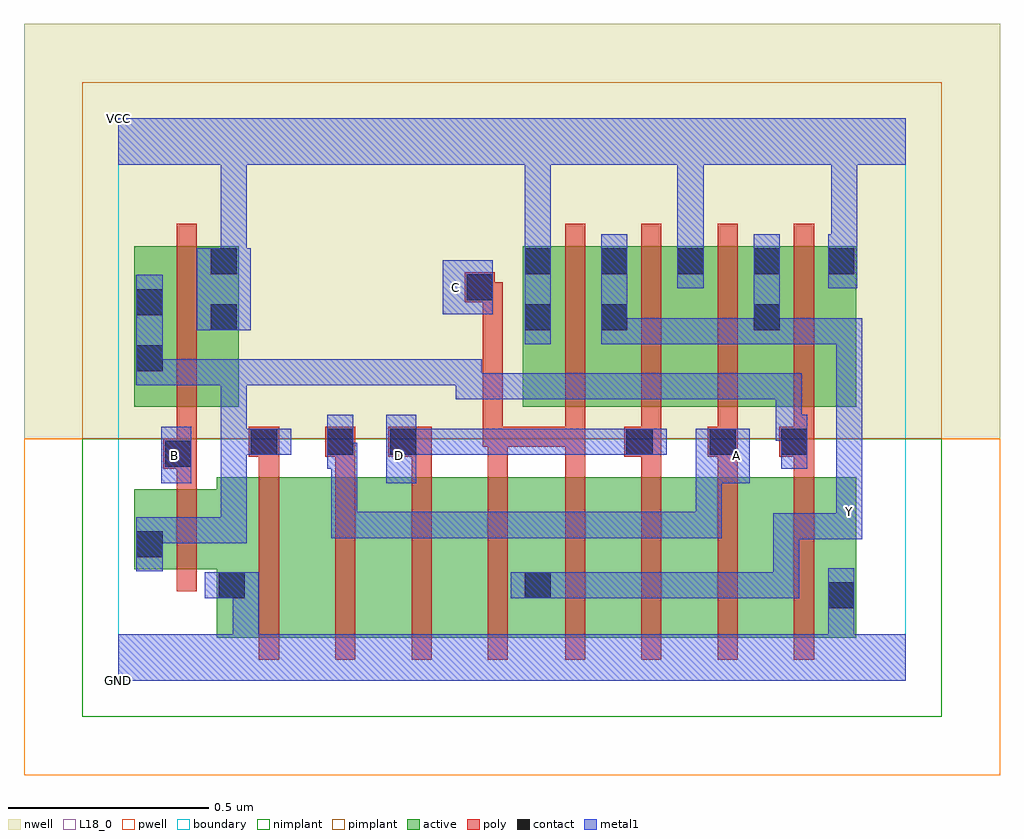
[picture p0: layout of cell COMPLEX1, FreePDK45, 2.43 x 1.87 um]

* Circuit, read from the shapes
.subckt COMPLEX1 A B C D GND VCC Y
M1 GND B n1 VSUBS nfet w=0.2u l=0.05u
M2 n2 n1 GND VSUBS nfet w=0.4u l=0.05u
M3 n3 A n2 VSUBS nfet w=0.4u l=0.05u
M4 n4 D n3 VSUBS nfet w=0.4u l=0.05u
M5 Y C n4 VSUBS nfet w=0.4u l=0.05u
M6 n5 C Y VSUBS nfet w=0.4u l=0.05u
M7 n6 D n5 VSUBS nfet w=0.4u l=0.05u
M8 n7 A n6 VSUBS nfet w=0.4u l=0.05u
M9 GND n1 n7 VSUBS nfet w=0.4u l=0.05u
M10 VCC B n1 n8 pfet w=0.4u l=0.05u
M11 Y C VCC n8 pfet w=0.4u l=0.05u
M12 VCC D Y n8 pfet w=0.4u l=0.05u
M13 Y A VCC n8 pfet w=0.4u l=0.05u
M14 VCC n1 Y n8 pfet w=0.4u l=0.05u
.ends

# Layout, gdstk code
import gdstk
lib = gdstk.Library(unit=1e-6, precision=1e-09)
def R(c, l, rs):  # rectangles x0, y0, x1, y1
    for r in rs: c.add(gdstk.rectangle(r[:2], r[2:], *l))
def A(c, l, x, y, w, h, nx, ny, dx, dy):  # array of equal rectangles
    R(c, l, [(x+i*dx, y+j*dy, x+i*dx+w, y+j*dy+h) for i in range(nx) for j in range(ny)])
active = (1, 0)
pwell = (2, 0)
nwell = (3, 0)
nimplant = (4, 0)
pimplant = (5, 0)
poly = (9, 0)
contact = (10, 0)
metal1 = (11, 0)
L18_0 = (18, 0)
boundary = (235, 0)

complex1 = lib.new_cell('COMPLEX1')
A(complex1, active, 1.007, 0.682, 0.265, 0.4, 3, 1, 0.19, 0)
R(complex1, active, [(0.245,0.107,0.47,0.507), (0.245,0.107,0.32,0.292), (0.47,0.107,0.66,0.507), (0.66,0.107,0.85,0.507), (0.85,0.107,1.082,0.507), (1.007,0.107,1.232,0.507), (1.232,0.107,1.422,0.507), (1.422,0.107,1.612,0.507), (1.612,0.107,1.837,0.507), (1.762,0.107,1.837,0.507), (1.007,0.147,1.082,0.492), (0.04,0.277,0.32,0.477), (0.04,0.302,0.115,0.477), (0.04,0.682,0.3,1.082), (0.04,0.682,0.115,1.057), (0.225,0.682,0.3,1.082), (1.577,0.682,1.837,1.082), (1.762,0.682,1.837,1.082), (1.007,0.72,1.082,1.082), (1.197,0.802,1.272,1.082), (1.577,0.802,1.652,1.082), (1.387,0.907,1.462,1.082)])
R(complex1, pwell, [(-0.235,-0.235,2.195,0.602)])
R(complex1, nwell, [(-0.235,0.602,2.195,1.635)])
R(complex1, nimplant, [(-0.09,-0.09,2.05,0.602)])
R(complex1, pimplant, [(-0.09,0.602,2.05,1.49)])
A(complex1, poly, 0.35, 0.052, 0.05, 0.51, 4, 1, 0.19, 0)
A(complex1, poly, 1.112, 0.052, 0.05, 0.51, 4, 2, 0.19, 0.575)
A(complex1, poly, 0.35, 0.512, 0.05, 0.095, 3, 1, 0.19, 0)
A(complex1, poly, 1.302, 0.512, 0.05, 0.095, 3, 1, 0.19, 0)
A(complex1, poly, 1.112, 0.582, 0.05, 0.095, 4, 1, 0.19, 0)
R(complex1, poly, [(0.145,0.222,0.195,0.532), (0.145,0.482,0.195,0.577), (0.92,0.512,0.97,0.632), (1.112,0.512,1.162,0.632), (0.112,0.527,0.195,0.602), (0.145,0.552,0.195,0.677), (0.325,0.557,0.4,0.632), (0.515,0.557,0.59,0.632), (0.672,0.557,0.78,0.632), (1.26,0.557,1.352,0.632), (1.467,0.557,1.542,0.632), (1.645,0.557,1.732,0.632), (0.907,0.582,0.957,0.992), (0.907,0.582,0.97,0.632), (0.92,0.582,1.162,0.632), (0.92,0.582,0.97,0.632), (0.92,0.582,0.97,0.632), (1.112,0.582,1.162,0.632), (0.145,0.627,0.195,1.137), (0.862,0.942,0.937,1.017), (0.887,0.942,0.937,0.992), (0.887,0.942,0.957,0.992)])
A(complex1, contact, 1.012, 1.012, 0.065, 0.065, 4, 1, 0.19, 0)
R(complex1, contact, [(1.767,0.18,1.832,0.245), (0.25,0.205,0.315,0.27), (1.012,0.205,1.077,0.27), (0.045,0.307,0.11,0.372), (0.117,0.532,0.182,0.597), (0.33,0.562,0.395,0.627), (0.52,0.562,0.585,0.627), (0.677,0.562,0.742,0.627), (1.265,0.562,1.33,0.627), (1.472,0.562,1.537,0.627), (1.65,0.562,1.715,0.627), (0.045,0.77,0.11,0.835), (0.23,0.872,0.295,0.937), (1.012,0.872,1.077,0.937), (1.202,0.872,1.267,0.937), (1.582,0.872,1.647,0.937), (0.045,0.91,0.11,0.975), (0.867,0.947,0.932,1.012), (0.23,1.012,0.295,1.077), (1.767,1.012,1.832,1.077)])
R(complex1, metal1, [(0,0,1.96,0.115), (0.285,0.05,0.35,0.27), (1.767,0.05,1.832,0.21), (1.767,0.145,1.832,0.28), (0.215,0.205,0.35,0.27), (0.977,0.205,1.112,0.27), (1.047,0.205,1.112,0.27), (1.047,0.205,1.112,0.27), (1.047,0.205,1.32,0.27), (1.255,0.205,1.32,0.27), (1.255,0.205,1.32,0.27), (1.255,0.205,1.32,0.27), (1.255,0.205,1.502,0.27), (1.437,0.205,1.502,0.27), (1.437,0.205,1.502,0.27), (1.437,0.205,1.502,0.27), (1.437,0.205,1.695,0.27), (1.63,0.205,1.695,0.27), (1.63,0.205,1.695,0.417), (0.045,0.272,0.11,0.407), (0.045,0.342,0.11,0.407), (0.045,0.342,0.11,0.407), (0.045,0.342,0.32,0.407), (0.255,0.342,0.32,0.407), (0.255,0.342,0.32,0.627), (1.63,0.352,1.695,0.417), (1.63,0.352,1.852,0.417), (1.787,0.352,1.852,0.417), (1.787,0.352,1.852,0.417), (1.787,0.352,1.852,0.417), (1.787,0.352,1.852,0.417), (1.787,0.352,1.852,0.487), (0.53,0.355,0.595,0.42), (0.53,0.355,0.735,0.42), (0.53,0.355,0.595,0.592), (0.67,0.355,0.735,0.42), (0.67,0.355,0.88,0.42), (0.815,0.355,0.88,0.42), (0.815,0.355,0.88,0.42), (0.815,0.355,0.88,0.42), (0.815,0.355,1.13,0.42), (1.065,0.355,1.13,0.42), (1.065,0.355,1.13,0.42), (1.065,0.355,1.13,0.42), (1.065,0.355,1.32,0.42), (1.255,0.355,1.32,0.42), (1.255,0.355,1.32,0.42), (1.255,0.355,1.32,0.42), (1.255,0.355,1.502,0.42), (1.437,0.355,1.502,0.42), (1.437,0.355,1.502,0.557), (1.787,0.422,1.852,0.902), (0.107,0.492,0.182,0.632), (0.667,0.492,0.742,0.662), (1.437,0.492,1.502,0.557), (1.437,0.492,1.502,0.557), (1.437,0.492,1.572,0.627), (0.52,0.527,0.585,0.662), (0.52,0.527,0.595,0.592), (0.53,0.527,0.595,0.592), (1.65,0.527,1.715,0.662), (0.255,0.562,0.32,0.627), (0.255,0.562,0.36,0.627), (0.255,0.562,0.32,0.8), (0.295,0.562,0.43,0.627), (0.677,0.562,0.88,0.627), (0.815,0.562,0.88,0.627), (0.815,0.562,0.88,0.627), (0.815,0.562,0.88,0.627), (0.815,0.562,1.042,0.627), (0.977,0.562,1.042,0.627), (0.977,0.562,1.042,0.627), (0.977,0.562,1.042,0.627), (0.977,0.562,1.295,0.627), (1.23,0.562,1.295,0.627), (1.23,0.562,1.295,0.627), (1.23,0.562,1.365,0.627), (1.637,0.597,1.702,0.662), (1.637,0.597,1.715,0.662), (1.637,0.597,1.702,0.765), (0.84,0.7,0.905,0.765), (0.84,0.7,0.905,0.765), (0.84,0.7,1.042,0.765), (0.84,0.7,0.905,0.8), (0.977,0.7,1.042,0.765), (0.977,0.7,1.042,0.765), (0.977,0.7,1.042,0.765), (0.977,0.7,1.32,0.765), (1.255,0.7,1.32,0.765), (1.255,0.7,1.32,0.765), (1.255,0.7,1.32,0.765), (1.255,0.7,1.502,0.765), (1.437,0.7,1.502,0.765), (1.437,0.7,1.502,0.765), (1.437,0.7,1.502,0.765), (1.437,0.7,1.702,0.765), (1.637,0.7,1.702,0.765), (0.045,0.735,0.11,0.8), (0.045,0.735,0.11,0.8), (0.045,0.735,0.11,1.01), (0.045,0.735,0.32,0.8), (0.255,0.735,0.32,0.8), (0.255,0.735,0.32,0.8), (0.255,0.735,0.32,0.8), (0.255,0.735,0.457,0.8), (0.392,0.735,0.457,0.8), (0.392,0.735,0.457,0.8), (0.392,0.735,0.457,0.8), (0.392,0.735,0.732,0.8), (0.667,0.735,0.732,0.8), (0.667,0.735,0.732,0.8), (0.667,0.735,0.732,0.8), (0.667,0.735,0.905,0.8), (1.012,0.837,1.077,1.112), (1.202,0.837,1.267,0.902), (1.202,0.837,1.267,0.902), (1.202,0.837,1.267,1.112), (1.202,0.837,1.502,0.902), (1.437,0.837,1.502,0.902), (1.437,0.837,1.502,0.902), (1.437,0.837,1.502,0.902), (1.437,0.837,1.647,0.902), (1.582,0.837,1.852,0.902), (1.582,0.837,1.647,1.112), (1.787,0.837,1.852,0.902), (1.787,0.837,1.852,0.902), (1.787,0.837,1.852,0.902), (1.787,0.837,1.852,0.902), (1.787,0.837,1.852,0.902), (0.195,0.872,0.33,1.077), (0.807,0.912,0.932,1.047), (1.392,0.977,1.457,1.112), (1.767,0.977,1.84,1.112), (0.255,1.012,0.32,1.35), (1.012,1.047,1.077,1.35), (1.392,1.047,1.457,1.35), (1.775,1.047,1.84,1.112), (1.775,1.047,1.84,1.112), (1.775,1.047,1.84,1.35), (0,1.285,1.96,1.4), (0.255,1.285,0.32,1.35), (0.255,1.285,0.32,1.35), (1.012,1.285,1.077,1.35), (1.012,1.285,1.077,1.35), (1.392,1.285,1.457,1.35), (1.392,1.285,1.457,1.35)])
R(complex1, L18_0, [(0,0,1.96,0.115), (0.285,0.05,0.35,0.27), (1.767,0.05,1.832,0.21), (1.767,0.145,1.832,0.28), (0.215,0.205,0.35,0.27), (0.977,0.205,1.112,0.27), (1.047,0.205,1.112,0.27), (1.047,0.205,1.112,0.27), (1.047,0.205,1.32,0.27), (1.255,0.205,1.32,0.27), (1.255,0.205,1.32,0.27), (1.255,0.205,1.32,0.27), (1.255,0.205,1.502,0.27), (1.437,0.205,1.502,0.27), (1.437,0.205,1.502,0.27), (1.437,0.205,1.502,0.27), (1.437,0.205,1.695,0.27), (1.63,0.205,1.695,0.27), (1.63,0.205,1.695,0.417), (1.63,0.352,1.695,0.417), (1.63,0.352,1.852,0.417), (1.787,0.352,1.852,0.417), (1.787,0.352,1.852,0.417), (1.787,0.352,1.852,0.417), (1.787,0.352,1.852,0.417), (1.787,0.352,1.852,0.487), (0.53,0.355,0.595,0.42), (0.53,0.355,0.595,0.592), (0.53,0.355,0.735,0.42), (0.67,0.355,0.735,0.42), (0.67,0.355,0.88,0.42), (0.815,0.355,0.88,0.42), (0.815,0.355,0.88,0.42), (0.815,0.355,0.88,0.42), (0.815,0.355,1.13,0.42), (1.065,0.355,1.13,0.42), (1.065,0.355,1.13,0.42), (1.065,0.355,1.13,0.42), (1.065,0.355,1.32,0.42), (1.255,0.355,1.32,0.42), (1.255,0.355,1.32,0.42), (1.255,0.355,1.32,0.42), (1.255,0.355,1.502,0.42), (1.437,0.355,1.502,0.42), (1.437,0.355,1.502,0.557), (1.787,0.387,1.852,0.452), (1.787,0.422,1.852,0.902), (0.107,0.492,0.182,0.632), (0.667,0.492,0.742,0.662), (1.437,0.492,1.502,0.557), (1.437,0.492,1.502,0.557), (1.437,0.492,1.572,0.627), (0.107,0.527,0.172,0.592), (0.52,0.527,0.585,0.662), (0.52,0.527,0.595,0.592), (0.53,0.527,0.595,0.592), (0.667,0.527,0.732,0.592), (1.507,0.527,1.572,0.592), (0.677,0.562,0.88,0.627), (0.815,0.562,0.88,0.627), (0.815,0.562,0.88,0.627), (0.815,0.562,0.88,0.627), (0.815,0.562,1.042,0.627), (0.977,0.562,1.042,0.627), (0.977,0.562,1.042,0.627), (0.977,0.562,1.042,0.627), (0.977,0.562,1.295,0.627), (1.23,0.562,1.365,0.627), (1.23,0.562,1.295,0.627), (1.23,0.562,1.295,0.627), (1.012,0.837,1.077,1.112), (1.202,0.837,1.267,0.902), (1.202,0.837,1.267,0.902), (1.202,0.837,1.267,1.112), (1.202,0.837,1.502,0.902), (1.437,0.837,1.502,0.902), (1.437,0.837,1.502,0.902), (1.437,0.837,1.502,0.902), (1.437,0.837,1.647,0.902), (1.582,0.837,1.647,1.112), (1.582,0.837,1.852,0.902), (1.787,0.837,1.852,0.902), (1.787,0.837,1.852,0.902), (1.787,0.837,1.852,0.902), (1.787,0.837,1.852,0.902), (1.787,0.837,1.852,0.902), (0.195,0.872,0.33,1.077), (0.807,0.912,0.932,1.047), (0.807,0.947,0.872,1.012), (1.392,0.977,1.457,1.112), (1.767,0.977,1.84,1.112), (0.255,1.012,0.32,1.35), (1.012,1.047,1.077,1.35), (1.392,1.047,1.457,1.35), (1.775,1.047,1.84,1.112), (1.775,1.047,1.84,1.112), (1.775,1.047,1.84,1.35), (0,1.285,1.96,1.4), (0.255,1.285,0.32,1.35), (0.255,1.285,0.32,1.35), (1.012,1.285,1.077,1.35), (1.012,1.285,1.077,1.35), (1.392,1.285,1.457,1.35), (1.392,1.285,1.457,1.35)])
R(complex1, boundary, [(0,0,1.96,1.4)])
complex1.add(gdstk.Label('A', (1.54,0.56), layer=11, texttype=0))
complex1.add(gdstk.Label('B', (0.14,0.56), layer=11, texttype=0))
complex1.add(gdstk.Label('C', (0.84,0.98), layer=11, texttype=0))
complex1.add(gdstk.Label('D', (0.7,0.56), layer=11, texttype=0))
complex1.add(gdstk.Label('Y', (1.82,0.42), layer=11, texttype=0))
complex1.add(gdstk.Label('VCC', (0,1.4), layer=11, texttype=0))
complex1.add(gdstk.Label('GND', (0,0), layer=11, texttype=0))

lib.write_gds('COMPLEX1.gds')
